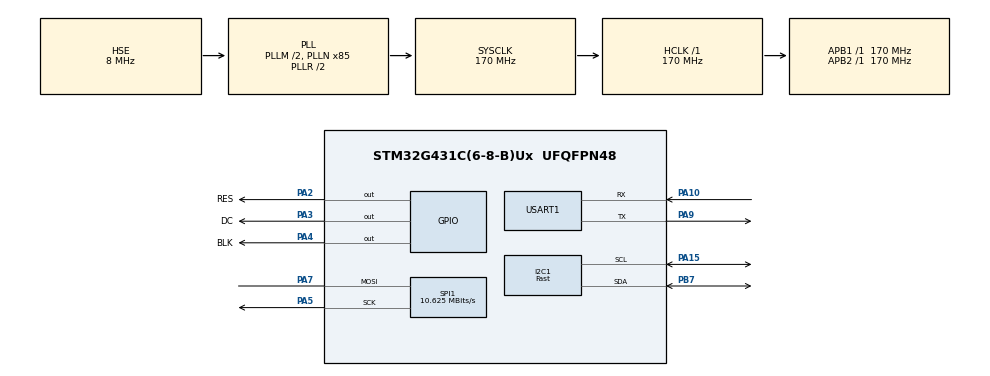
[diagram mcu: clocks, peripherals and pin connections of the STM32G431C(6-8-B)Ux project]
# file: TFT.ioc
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Dma.I2C1_RX.1.Direction=DMA_PERIPH_TO_MEMORY
Dma.I2C1_RX.1.EventEnable=DISABLE
Dma.I2C1_RX.1.Instance=DMA1_Channel2
Dma.I2C1_RX.1.MemDataAlignment=DMA_MDATAALIGN_BYTE
Dma.I2C1_RX.1.MemInc=DMA_MINC_ENABLE
Dma.I2C1_RX.1.Mode=DMA_NORMAL
Dma.I2C1_RX.1.PeriphDataAlignment=DMA_PDATAALIGN_BYTE
Dma.I2C1_RX.1.PeriphInc=DMA_PINC_DISABLE
Dma.I2C1_RX.1.Polarity=HAL_DMAMUX_REQ_GEN_RISING
Dma.I2C1_RX.1.Priority=DMA_PRIORITY_LOW
Dma.I2C1_RX.1.RequestNumber=1
Dma.I2C1_RX.1.SignalID=NONE
Dma.I2C1_RX.1.SyncEnable=DISABLE
Dma.I2C1_RX.1.SyncPolarity=HAL_DMAMUX_SYNC_NO_EVENT
Dma.I2C1_RX.1.SyncRequestNumber=1
Dma.I2C1_RX.1.SyncSignalID=NONE
Dma.I2C1_TX.0.Direction=DMA_MEMORY_TO_PERIPH
Dma.I2C1_TX.0.EventEnable=DISABLE
Dma.I2C1_TX.0.Instance=DMA1_Channel1
Dma.I2C1_TX.0.MemDataAlignment=DMA_MDATAALIGN_BYTE
Dma.I2C1_TX.0.MemInc=DMA_MINC_ENABLE
Dma.I2C1_TX.0.Mode=DMA_NORMAL
Dma.I2C1_TX.0.PeriphDataAlignment=DMA_PDATAALIGN_BYTE
Dma.I2C1_TX.0.PeriphInc=DMA_PINC_DISABLE
Dma.I2C1_TX.0.Polarity=HAL_DMAMUX_REQ_GEN_RISING
Dma.I2C1_TX.0.Priority=DMA_PRIORITY_LOW
Dma.I2C1_TX.0.RequestNumber=1
Dma.I2C1_TX.0.SignalID=NONE
Dma.I2C1_TX.0.SyncEnable=DISABLE
Dma.I2C1_TX.0.SyncPolarity=HAL_DMAMUX_SYNC_NO_EVENT
Dma.I2C1_TX.0.SyncRequestNumber=1
Dma.I2C1_TX.0.SyncSignalID=NONE
Dma.Request0=I2C1_TX
Dma.Request1=I2C1_RX
I2C1.CustomTiming=Disabled
I2C1.I2C_Speed_Mode=I2C_Fast
I2C1.Speed=400
I2C1.Timing=0x40621236
Mcu.Family=STM32G4
Mcu.Name=STM32G431C(6-8-B)Ux
Mcu.Package=UFQFPN48
NVIC.DMA1_Channel1_IRQn=true\:1\:0\:true\:false\:true\:false\:true\:true
NVIC.DMA1_Channel2_IRQn=true\:1\:0\:true\:false\:true\:false\:true\:true
NVIC.I2C1_ER_IRQn=true\:2\:0\:true\:false\:true\:true\:true\:true
NVIC.I2C1_EV_IRQn=true\:2\:0\:true\:false\:true\:true\:true\:true
NVIC.PriorityGroup=NVIC_PRIORITYGROUP_2
PA10.GPIO_Speed=GPIO_SPEED_FREQ_VERY_HIGH
PA10.Mode=Asynchronous
PA10.Signal=USART1_RX
PA13.Mode=Serial_Wire
PA13.Signal=SYS_JTMS-SWDIO
PA14.Mode=Serial_Wire
PA14.Signal=SYS_JTCK-SWCLK
PA15.Mode=I2C
PA15.Signal=I2C1_SCL
PA2.GPIO_Label=RES
PA2.GPIO_PuPd=GPIO_PULLUP
PA2.GPIO_Speed=GPIO_SPEED_FREQ_VERY_HIGH
PA2.PinState=GPIO_PIN_SET
PA2.Signal=GPIO_Output
PA3.GPIO_Label=DC
PA3.GPIO_PuPd=GPIO_PULLUP
PA3.GPIO_Speed=GPIO_SPEED_FREQ_VERY_HIGH
PA3.PinState=GPIO_PIN_SET
PA3.Signal=GPIO_Output
PA4.GPIO_Label=BLK
PA4.GPIO_PuPd=GPIO_PULLUP
PA4.GPIO_Speed=GPIO_SPEED_FREQ_VERY_HIGH
PA4.PinState=GPIO_PIN_SET
PA4.Signal=GPIO_Output
PA5.Mode=Simplex_Bidirectional_Master
PA5.Signal=SPI1_SCK
PA7.Mode=Simplex_Bidirectional_Master
PA7.Signal=SPI1_MOSI
PA9.GPIO_Speed=GPIO_SPEED_FREQ_VERY_HIGH
PA9.Mode=Asynchronous
PA9.Signal=USART1_TX
PB7.Mode=I2C
PB7.Signal=I2C1_SDA
PF0-OSC_IN.Mode=HSE-External-Oscillator
PF0-OSC_IN.Signal=RCC_OSC_IN
PF1-OSC_OUT.Mode=HSE-External-Oscillator
PF1-OSC_OUT.Signal=RCC_OSC_OUT
ProjectManager.HeapSize=0x200
ProjectManager.StackSize=0x400
ProjectManager.TargetToolchain=MDK-ARM V5.32
RCC.ADC12Freq_Value=170000000
RCC.AHBFreq_Value=170000000
RCC.APB1Freq_Value=170000000
RCC.APB1TimFreq_Value=170000000
RCC.APB2Freq_Value=170000000
RCC.APB2TimFreq_Value=170000000
RCC.CortexFreq_Value=170000000
RCC.EXTERNAL_CLOCK_VALUE=12288000
RCC.HCLKFreq_Value=170000000
RCC.HSE_VALUE=8000000
RCC.HSI48_VALUE=48000000
RCC.HSI_VALUE=16000000
RCC.LSE_VALUE=32768
RCC.PLLM=RCC_PLLM_DIV2
RCC.PLLN=85
RCC.PLLSourceVirtual=RCC_PLLSOURCE_HSE
RCC.SYSCLKFreq_VALUE=170000000
RCC.SYSCLKSource=RCC_SYSCLKSOURCE_PLLCLK
RCC.USBFreq_Value=170000000
RCC.VCOOutputFreq_Value=340000000
SPI1.BaudRatePrescaler=SPI_BAUDRATEPRESCALER_16
SPI1.CalculateBaudRate=10.625 MBits/s
SPI1.DataSize=SPI_DATASIZE_8BIT
SPI1.Direction=SPI_DIRECTION_1LINE
SPI1.Mode=SPI_MODE_MASTER
SPI1.VirtualType=VM_MASTER
USART1.VirtualMode-Asynchronous=VM_ASYNC
VP_SYS_VS_DBSignals.Mode=DisableDeadBatterySignals
board=custom

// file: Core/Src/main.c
/* USER CODE BEGIN Header */
/**
  ******************************************************************************
  * @file           : main.c
  * @brief          : Main program body
  ******************************************************************************
  * @attention
  *
  * Copyright (c) 2025 STMicroelectronics.
  * All rights reserved.
  *
  * This software is licensed under terms that can be found in the LICENSE file
  * in the root directory of this software component.
  * If no LICENSE file comes with this software, it is provided AS-IS.
  *
  ******************************************************************************
  */
/* USER CODE END Header */
#include "main.h"
#include "dma.h"
#include "i2c.h"
#include "spi.h"
#include "usart.h"
#include "gpio.h"

void SystemClock_Config(void);

/* USER CODE BEGIN 0 */
#include <stdio.h>
#include "../BSP/LCD/lcd.h"
#include "../BSP/LCD/pic.h"
#include "../BSP/AS5600/as5600.h"
/* USER CODE END 0 */

int main(void)
{

  /* MCU Configuration--------------------------------------------------------*/

  /* Reset of all peripherals, Initializes the Flash interface and the Systick. */
  HAL_Init();

  /* Configure the system clock */
  SystemClock_Config();

  /* Initialize all configured peripherals */
  MX_GPIO_Init();
  MX_DMA_Init();
  MX_SPI1_Init();
  MX_USART1_UART_Init();
  MX_I2C1_Init();
  /* USER CODE BEGIN 2 */
//	LCD_Init();
//	LCD_Fill(0,0,LCD_W,LCD_H,WHITE);
	uint8_t i,j;
	double  t=0;
	LCD_Init();
	LCD_Fill(0,0,LCD_W,LCD_H,BLACK);
	LCD_ShowString(10,10,"ST7789 OK",RED,BLACK,16,0);
	printf("hello world\r\n");

	HAL_Delay(1000);
	uint8_t status;
	HAL_I2C_Mem_Read(&hi2c1, AS5600_ADDRESS, 0x0B, I2C_MEMADD_SIZE_8BIT, &status, 1, 100);
	printf("STATUS = 0x%02X  MD=%d ML=%d MH=%d\n",  status,
													(status >> 5) & 1,
													(status >> 6) & 1,
													(status >> 7) & 1);
	if (status & 0x80)
	{
		printf("MH=1 磁场太强！角度无效\n");
	}
	else if (status & 0x40)
	{
		printf("ML=1 磁场太弱！角度不准\n");
	}
	else if (!(status & 0x20))
	{
		printf("MD=0 数据未更新\n");
	}
	else
	{
		printf("磁场正常，可以读角度\n");
	}
	as5600SetZeroPosition();
	as5600ReadDMA(Angle_Hight_Register_Addr, data, DATA_SIZE);  // 启动I2C DMA接收
  /* USER CODE END 2 */

  /* Infinite loop */
  while (1)
  {

    /* USER CODE BEGIN 3 */
//    LCD_ShowChinese(0,0,"zjydz",RED,WHITE,32,0);
//	LCD_ShowString(0,40,"LCD_W:",RED,WHITE,16,0);
//	LCD_ShowIntNum(48,40,LCD_W,3,RED,WHITE,16);
//	LCD_ShowString(80,40,"LCD_H:",RED,WHITE,16,0);
//	LCD_ShowIntNum(128,40,LCD_H,3,RED,WHITE,16);
//	LCD_ShowString(80,40,"LCD_H:",RED,WHITE,16,0);
//	LCD_ShowString(0,70,"Increaseing Nun:",RED,WHITE,16,0);
//	LCD_ShowFloatNum1(128,70,t,4,RED,WHITE,16);
//	t+=0.11;
//	for(j=0;j<3;j++)
//	{
//		for(i=0;i<6;i++)
//		{
//			LCD_ShowPicture(40*i,120+j*40,40,40,gImage_1);
//		}
//	}
//
    //我的硬件是逆时针递减  即使DIR是3.3 应该是磁环安装反了 但是我的硬件没办法拆下磁环
	printf("angleWithoutCircle:%.4f\r\nangleWithoutCircle:%.4f\r\nfullRotations:%d\r\n", angleWithoutCircle, angleWithCircle, fullRotations);
	HAL_Delay(100);

  }
  /* USER CODE END 3 */
}

void SystemClock_Config(void)
{
  RCC_OscInitTypeDef RCC_OscInitStruct = {0};
  RCC_ClkInitTypeDef RCC_ClkInitStruct = {0};

  /** Configure the main internal regulator output voltage
  */
  HAL_PWREx_ControlVoltageScaling(PWR_REGULATOR_VOLTAGE_SCALE1_BOOST);

  /** Initializes the RCC Oscillators according to the specified parameters
  * in the RCC_OscInitTypeDef structure.
  */
  RCC_OscInitStruct.OscillatorType = RCC_OSCILLATORTYPE_HSE;
  RCC_OscInitStruct.HSEState = RCC_HSE_ON;
  RCC_OscInitStruct.PLL.PLLState = RCC_PLL_ON;
  RCC_OscInitStruct.PLL.PLLSource = RCC_PLLSOURCE_HSE;
  RCC_OscInitStruct.PLL.PLLM = RCC_PLLM_DIV2;
  RCC_OscInitStruct.PLL.PLLN = 85;
  RCC_OscInitStruct.PLL.PLLP = RCC_PLLP_DIV2;
  RCC_OscInitStruct.PLL.PLLQ = RCC_PLLQ_DIV2;
  RCC_OscInitStruct.PLL.PLLR = RCC_PLLR_DIV2;
  if (HAL_RCC_OscConfig(&RCC_OscInitStruct) != HAL_OK)
  {
    Error_Handler();
  }

  /** Initializes the CPU, AHB and APB buses clocks
  */
  RCC_ClkInitStruct.ClockType = RCC_CLOCKTYPE_HCLK|RCC_CLOCKTYPE_SYSCLK
                              |RCC_CLOCKTYPE_PCLK1|RCC_CLOCKTYPE_PCLK2;
  RCC_ClkInitStruct.SYSCLKSource = RCC_SYSCLKSOURCE_PLLCLK;
  RCC_ClkInitStruct.AHBCLKDivider = RCC_SYSCLK_DIV1;
  RCC_ClkInitStruct.APB1CLKDivider = RCC_HCLK_DIV1;
  RCC_ClkInitStruct.APB2CLKDivider = RCC_HCLK_DIV1;

  if (HAL_RCC_ClockConfig(&RCC_ClkInitStruct, FLASH_LATENCY_4) != HAL_OK)
  {
    Error_Handler();
  }
}

void Error_Handler(void)
{
  __disable_irq();
  while (1)
  {
  }
}
